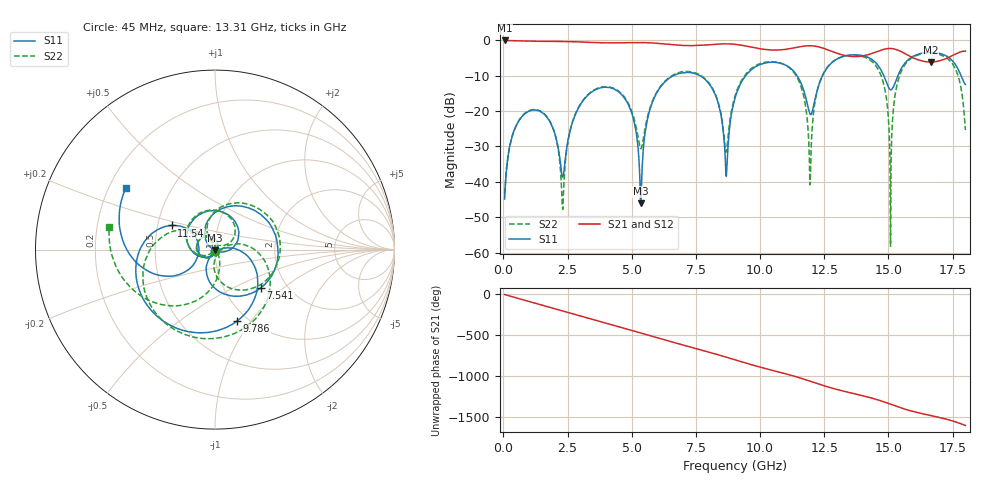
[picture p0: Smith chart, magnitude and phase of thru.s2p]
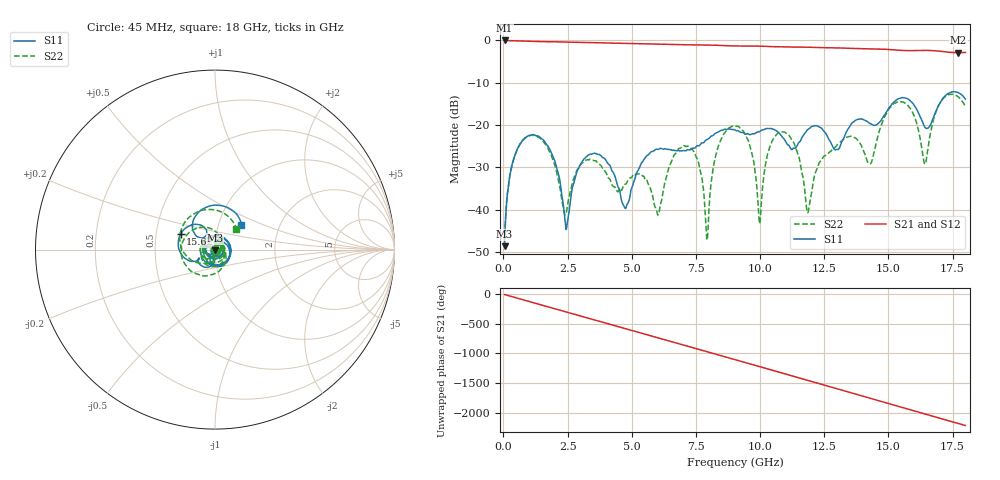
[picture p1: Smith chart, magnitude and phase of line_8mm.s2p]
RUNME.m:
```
clear
close all
clc

%% constants
% length of lines
L1 = 8e-3;
L2 = 50e-3;
L3 = 69.8e-3;
% model of reflects
shortModel = -1;
openModel = 1;

phaseConst0 = 22449.5;
f0 = 10e9;

% folderName = '191206 - Mereni_SMA';
folderName = '191206 - Mereni_Southwest';

%% load S parameters
[freq, SThru] = SXPParse(fullfile(folderName, 'thru.s2p'));
[~, SShort] = SXPParse(fullfile(folderName, 'short.s2p'));
[~, SLine1] = SXPParse(fullfile(folderName, 'line_8mm.s2p'));
[~, SLine2] = SXPParse(fullfile(folderName, 'line_50mm.s2p'));
[~, SLine3] = SXPParse(fullfile(folderName, 'line_70mm.s2p'));
[~, SMatch] = SXPParse(fullfile(folderName, 'match.s2p'));
[~, SOpen] = SXPParse(fullfile(folderName, 'open.s2p'));

freq = freq.';

%% calibration
[SaCal1, SbCal1, propConst1] = TRL_SPar(SThru, ...
   SLine1, SShort, L1, 0, shortModel);

[SaCal2, SbCal2, propConst2] = TRL_SPar(SThru, ...
   SLine2, SShort, L2, 0, shortModel);

[SaCal3, SbCal3, propConst3] = TRL_SPar(SThru, ...
   SLine3, SShort, L3, 0, shortModel);
% multile TRL (utilize combination L1-L2, L1-L3, L2-L3)
[SaCal12, SbCal12, propConst12] = TRL_SPar(SLine1, ...
   SLine2, SShort, L2, L1, shortModel);

[SaCal13, SbCal13, propConst13] = TRL_SPar(SLine1, ...
   SLine3, SShort, L3, L1, shortModel);

[SaCal23, SbCal23, propConst23] = TRL_SPar(SLine2, ...
   SLine3, SShort, L3, L2, shortModel);

allPropConst = [propConst1, propConst2, propConst3, propConst12, propConst13, propConst23];
allSa = cat(4, SaCal1, SaCal2, SaCal3, SaCal12, SaCal13, SaCal23);
allSb = cat(4, SbCal1, SbCal2, SbCal3, SbCal12, SbCal13, SbCal23);
%% weighted mean of error boxes

% compute Effective Phase Delay
EPD = EPDofLines([L1, L2, L3, L2-L1, L3-L1, L3-L2], freq, phaseConst0, f0);

% compute weighted error boxes
Sa = computeWeightedMean(allSa, EPD);
Sb = computeWeightedMean(allSb, EPD);

%% weighted mean of propagation constant
propConst = sum(allPropConst.*EPD, 2)./sum(EPD, 2);

%% calibrate measured S-parameters of 69.8mm Line

SLine3Cal = calibrate2PortSParDUT(Sa, Sb, SLine3);

%% export S-parameters of 69.8mm Line
% skip first point because of faulty data
% set zero reflections and unitary transmission (to not extract substrate losses)
SLine3Export = SLine3Cal(:, :, 2:end);
SLine3Export(1, 1, :) = 0;
SLine3Export(2, 2, :) = 0;
SLine3Export(2, 1, :) = exp(1j*angle(SLine3Export(2, 1, :)));
SLine3Export(1, 2, :) = SLine3Export(2, 1, :);

% SXPWrite(freq(2:end), SLine3Export, 'Line3.s2p');

%% TRM calibration
[SaTRM, SbTRM, propConstTRM] = TRL_SPar(SThru, ...
   SMatch, SShort, L1, 0, shortModel);

SLine3CalTRM = calibrate2PortSParDUT(SaTRM, SbTRM, SLine3);

%% UOSM calibration
P1Meas = struct('open', squeeze(SOpen(1, 1, :)), ...
   'short', squeeze(SShort(1, 1, :)), ...
   'match', squeeze(SMatch(1, 1, :)));
P2Meas = struct('open', squeeze(SOpen(2, 2, :)), ...
   'short', squeeze(SShort(2, 2, :)), ...
   'match', squeeze(SMatch(2, 2, :)));
P1Model = struct('open', ones(size(freq)), ...
   'short', -ones(size(freq)));
P2Model = P1Model;
thruS21Model = ones(size(freq));

[SaUOSM, SbUOSM] = UOSM(P1Meas, P2Meas, SThru, P1Model, P2Model, thruS21Model);

SLine3CalUOSM = calibrate2PortSParDUT(SaUOSM, SbUOSM, SLine3);
%% figures
figure
showXPortParameters(repmat({freq}, 1, 4), {SThru, SLine1, SLine2, SLine3}, ...
   'ShowLegend', false, 'LineStyle', repmat({'-'}, 1, 4), ...
   'Title', 'Thru and Lines (meas.)')

figure
showXPortParameters({freq, freq}, {SShort, SOpen}, ...
   'Title', 'Short and Open (meas.)', ...
   'LegendText', {'Short', 'Open'})

figure
showXPortParameters({freq}, {SMatch}, 'Title', 'Match (meas.)')

figure
showXPortParameters(repmat({freq}, 1, 7), ...
   {SaCal1, SaCal2, SaCal3, SaCal12, SaCal13, SaCal23, Sa}, ...
   'Title', 'Error boxes A from all Lines', ...
   'LegendText', {'8mm', '50mm', '70mm', '1-2', '1-3', '2-3', 'mean'}, ...
   'LineStyle', {'--', '--', '--', '--', '--', '--', '-'}, ...
   'LineWidth', [1 1 1 1 1 1 2])

figure
showXPortParameters(repmat({freq}, 1, 7), ...
   {SbCal1, SbCal2, SbCal3, SbCal12, SbCal13, SbCal23, Sb}, ...
   'Title', 'Error boxes B from all Lines', ...
   'LegendText', {'8mm', '50mm', '70mm', '1-2', '1-3', '2-3', 'mean'}, ...
   'LineStyle', {'--', '--', '--', '--', '--', '--', '-'}, ...
   'LineWidth', [1 1 1 1 1 1 2])

plotEPD(freq, EPD, 20)

figure
yyaxis left
plot(freq/1e9, real(allPropConst), 'Marker', 'none')
hold on
plot(freq/1e9, real(propConst), '-', 'LineWidth', 2, 'Marker', 'none')
xlabel('freq (GHz)')
ylabel('\alpha (Attenuation constant, -)')
yyaxis right
plot(freq/1e9, imag(allPropConst), 'Marker', 'none')
hold on
plot(freq/1e9, imag(propConst), '-', 'LineWidth', 2, 'Marker', 'none')
ylabel('\beta (Phase constant, rad/m)')
legend('8mm', '50mm', '70mm', '1-2', '1-3', '2-3', 'mean', 'Location', 'west')
title('Propagation constant')
grid on

figure
showXPortParameters({freq, freq}, {Sa, Sb}, 'Title', 'Mean error boxes A, B')

figure
showXPortParameters({freq, freq, freq}, {Sa, SaTRM, SaUOSM}, ...
   'Title', 'Error box A from TRL, TRM and UOSM', ...
   'LegendText', {'TRL', 'TRM', 'UOSM'}, ...
   'LineStyle', {'-', '-', '-'})

figure
showXPortParameters({freq, freq, freq}, {Sb, SbTRM, SbUOSM}, ...
   'Title', 'Error box B from TRL, TRM and UOSM', ...
   'LegendText', {'TRL', 'TRM', 'UOSM'}, ...
   'LineStyle', {'-', '-', '-'})

figure
showXPortParameters({freq, freq, freq}, {SLine3CalTRM, SLine3Cal, SLine3CalUOSM}, ...
   'Title', 'Calibrated Line 69.8mm with TRL, TRM and UOSM', ...
   'LegendText', {'TRL', 'TRM', 'UOSM'}, ...
   'LineStyle', {'-', '-', '-'})
```
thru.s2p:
!Agilent Technologies,E8364A,US41440284,A.06.04.32
!Agilent E8364A: A.06.04.32
!Date: Friday, December 06, 2019 09:56:05
!Correction: S11(Full 2 Port(1,2)) S21(Full 2 Port(1,2)) S12(Full 2 Port(1,2)) S22(Full 2 Port(1,2))
!S2P File: Measurements: S11, S21, S12, S22:
# Hz S  MA  R 50
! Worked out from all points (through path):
!   801 points, 45 MHz to 18 GHz, reference 50 ohm
!   highest |S21| = 0.00 dB at 45 MHz (marker M1); lowest = -6.1 dB at 16.65 GHz (marker M2)
!   group delay of S21, straight-line fit = 248 ps
!   lowest |S11| = -46.1 dB at 5.342 GHz (marker M3), VSWR 1.01, Z = 50.1 - j0.491 ohm
!   |S11| at or under -10 dB: start of sweep to 6.609 GHz; 7.663 GHz to 9.43 GHz (1.767 GHz wide, 20.7 % of centre); 11.44 GHz to 12.43 GHz (985.8 MHz wide, 8.26 % of centre)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
!   |S22| runs from -58.2 to -3.6 dB; largest |S21 - S12| = 0.0064
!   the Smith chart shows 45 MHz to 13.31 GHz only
!   S11 on the Smith chart (normalised r, x): 45 MHz: 1.00, -0.01; 7.541 GHz: 1.48, -0.71; 9.786 GHz: 0.89, -0.86; 11.54 GHz: 0.59, +0.17; 13.31 GHz: 0.27, +0.29
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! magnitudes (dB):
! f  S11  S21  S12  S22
! 45 MHz  -44.9  0.0  0.0  -43.3
! 3.883 GHz  -13.3  -0.7  -0.7  -13.1
! 5.342 GHz  -46.1  -0.6  -0.6  -30.6
! 7.541 GHz  -9.6  -1.4  -1.4  -9.3
! 9.023 GHz  -16.3  -1.1  -1.1  -15.8
! 9.786 GHz  -7.6  -2.1  -2.1  -7.3
! 11.54 GHz  -11.2  -1.8  -1.8  -11.9
! 13.31 GHz  -4.4  -4.3  -4.3  -4.4
! 15.08 GHz  -14.0  -2.3  -2.3  -58.2
! 16.65 GHz  -3.4  -6.1  -6.1  -3.6
! 18 GHz  -12.4  -3.0  -3.1  -25.3
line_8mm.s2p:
!Agilent Technologies,E8364A,US41440284,A.06.04.32
!Agilent E8364A: A.06.04.32
!Date: Friday, December 06, 2019 10:44:08
!Correction: S11(Full 2 Port(1,2)) S21(Full 2 Port(1,2)) S12(Full 2 Port(1,2)) S22(Full 2 Port(1,2))
!S2P File: Measurements: S11, S21, S12, S22:
# Hz S  MA  R 50
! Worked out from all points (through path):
!   801 points, 45 MHz to 18 GHz, reference 50 ohm
!   highest |S21| = -0.01 dB at 45 MHz (marker M1); lowest = -2.9 dB at 17.73 GHz (marker M2)
!   group delay of S21, straight-line fit = 342 ps
!   lowest |S11| = -48.6 dB at 45 MHz (marker M3), VSWR 1.01, Z = 50 - j0.372 ohm
!   |S11| at or under -10 dB: start of sweep to end of sweep
!   |S22| runs from -47.1 to -12.7 dB; largest |S21 - S12| = 0.0022
!   S11 on the Smith chart (normalised r, x): 45 MHz: 1.00, -0.01; 15.62 GHz: 0.67, +0.12; 18 GHz: 1.29, +0.37
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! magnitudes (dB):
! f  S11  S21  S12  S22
! 45 MHz  -48.6  0.0  0.0  -46.0
! 987.6 MHz  -22.5  -0.2  -0.2  -22.6
! 2.469 GHz  -44.0  -0.4  -0.4  -40.0
! 7.115 GHz  -26.0  -1.0  -1.0  -25.1
! 7.923 GHz  -23.4  -1.1  -1.1  -47.0
! 9.023 GHz  -21.1  -1.3  -1.3  -20.2
! 11.87 GHz  -21.0  -1.6  -1.6  -40.6
! 15.62 GHz  -13.6  -2.4  -2.4  -14.7
! 16.43 GHz  -20.5  -2.4  -2.4  -29.3
! 17.73 GHz  -12.4  -2.9  -2.9  -13.4
! 18 GHz  -13.9  -2.8  -2.8  -15.7
